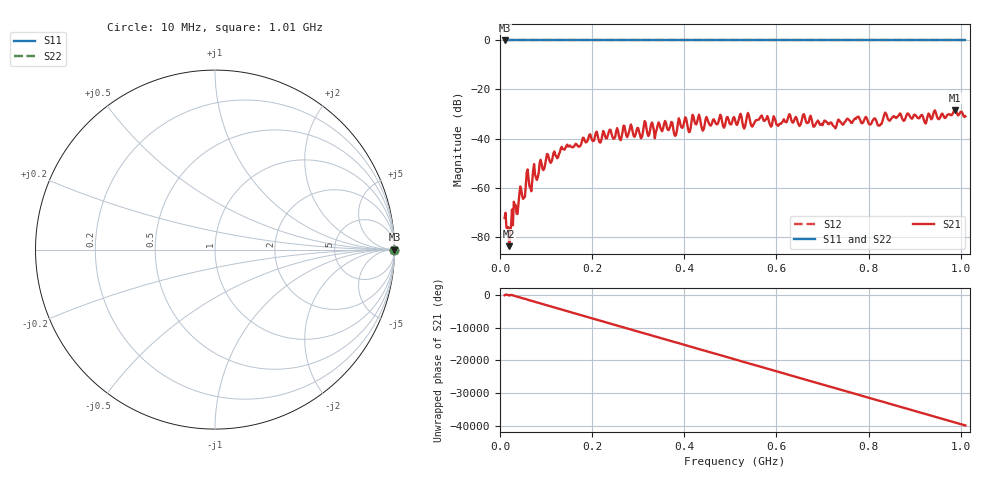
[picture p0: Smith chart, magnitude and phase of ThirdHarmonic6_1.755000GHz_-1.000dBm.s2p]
! 8/16/2025 9:10:51 PM
! C:\ANRITSUVNA\TEMP\TEMP.S2P
! CHANNEL.1
! TR.MEASUREMENT
! RAW.DATA
! RF.CORRECTION.OFF
! AVERAGING.OFF
! IF.BANDWIDTH: 5KHZ
! SWEEPTYPE:  FREQ.SWEEP(Linear)
! Reference Plane Port Info
! PORT:  PORT1  PORT2
! DISTANCE:  0  m  0  m
! TIME:  0  s  0  s
! PHASE.OFFSET:  0  deg.  0  deg.
! LOSS:  0  dB  0  dB
! REF.LOSS:  0  dB  0  dB
! REF.FREQ:  0  Hz  0  Hz
! Power Info
! POWER:  -20  dBm  -20  dBm
! EFF.POWER:  -20  dBm  -20  dBm
! SOURCE.ATTEN:  0  dB  0  dB
! TEST.ATTEN:  0  dB  0  dB
# GHZ S RI R 50.0
! FREQ.GHZ  S11RE  S11IM  S21RE  S21IM  S12RE  S12IM  S22RE  S22IM
!; PortSelection: Port_12
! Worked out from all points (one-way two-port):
!   501 points, 10 MHz to 1.01 GHz, reference 50 ohm
!   highest |S21| = -28.34 dB at 988 MHz (marker M1); lowest = -83.9 dB at 20 MHz (marker M2)
!   lowest |S11| = 0.0 dB at 10 MHz (marker M3)
!   |S11| at or under -10 dB: nowhere
!   |S22| runs from 0.0 to 0.0 dB; largest |S21 - S12| = 1
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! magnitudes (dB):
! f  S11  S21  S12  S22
! 10 MHz  0.0  -72.4  0.0  0.0
! 20 MHz  0.0  -83.9  0.0  0.0
! 30 MHz  0.0  -65.8  0.0  0.0
! 44 MHz  0.0  -59.6  0.0  0.0
! 52 MHz  0.0  -64.2  0.0  0.0
! 60 MHz  0.0  -52.6  0.0  0.0
! 66 MHz  0.0  -60.1  0.0  0.0
! 102 MHz  0.0  -46.3  0.0  0.0
! 178 MHz  0.0  -41.0  0.0  0.0
! 344 MHz  0.0  -33.4  0.0  0.0
! 372 MHz  0.0  -33.2  0.0  0.0
! 380 MHz  0.0  -38.9  0.0  0.0
! 388 MHz  0.0  -31.7  0.0  0.0
! 410 MHz  0.0  -37.4  0.0  0.0
! 420 MHz  0.0  -31.1  0.0  0.0
! 440 MHz  0.0  -36.8  0.0  0.0
! 450 MHz  0.0  -32.0  0.0  0.0
! 510 MHz  0.0  -32.3  0.0  0.0
! 678 MHz  0.0  -33.7  0.0  0.0
! 844 MHz  0.0  -32.6  0.0  0.0
! 988 MHz  0.0  -28.3  0.0  0.0
! 1.01 GHz  0.0  -30.9  0.0  0.0
